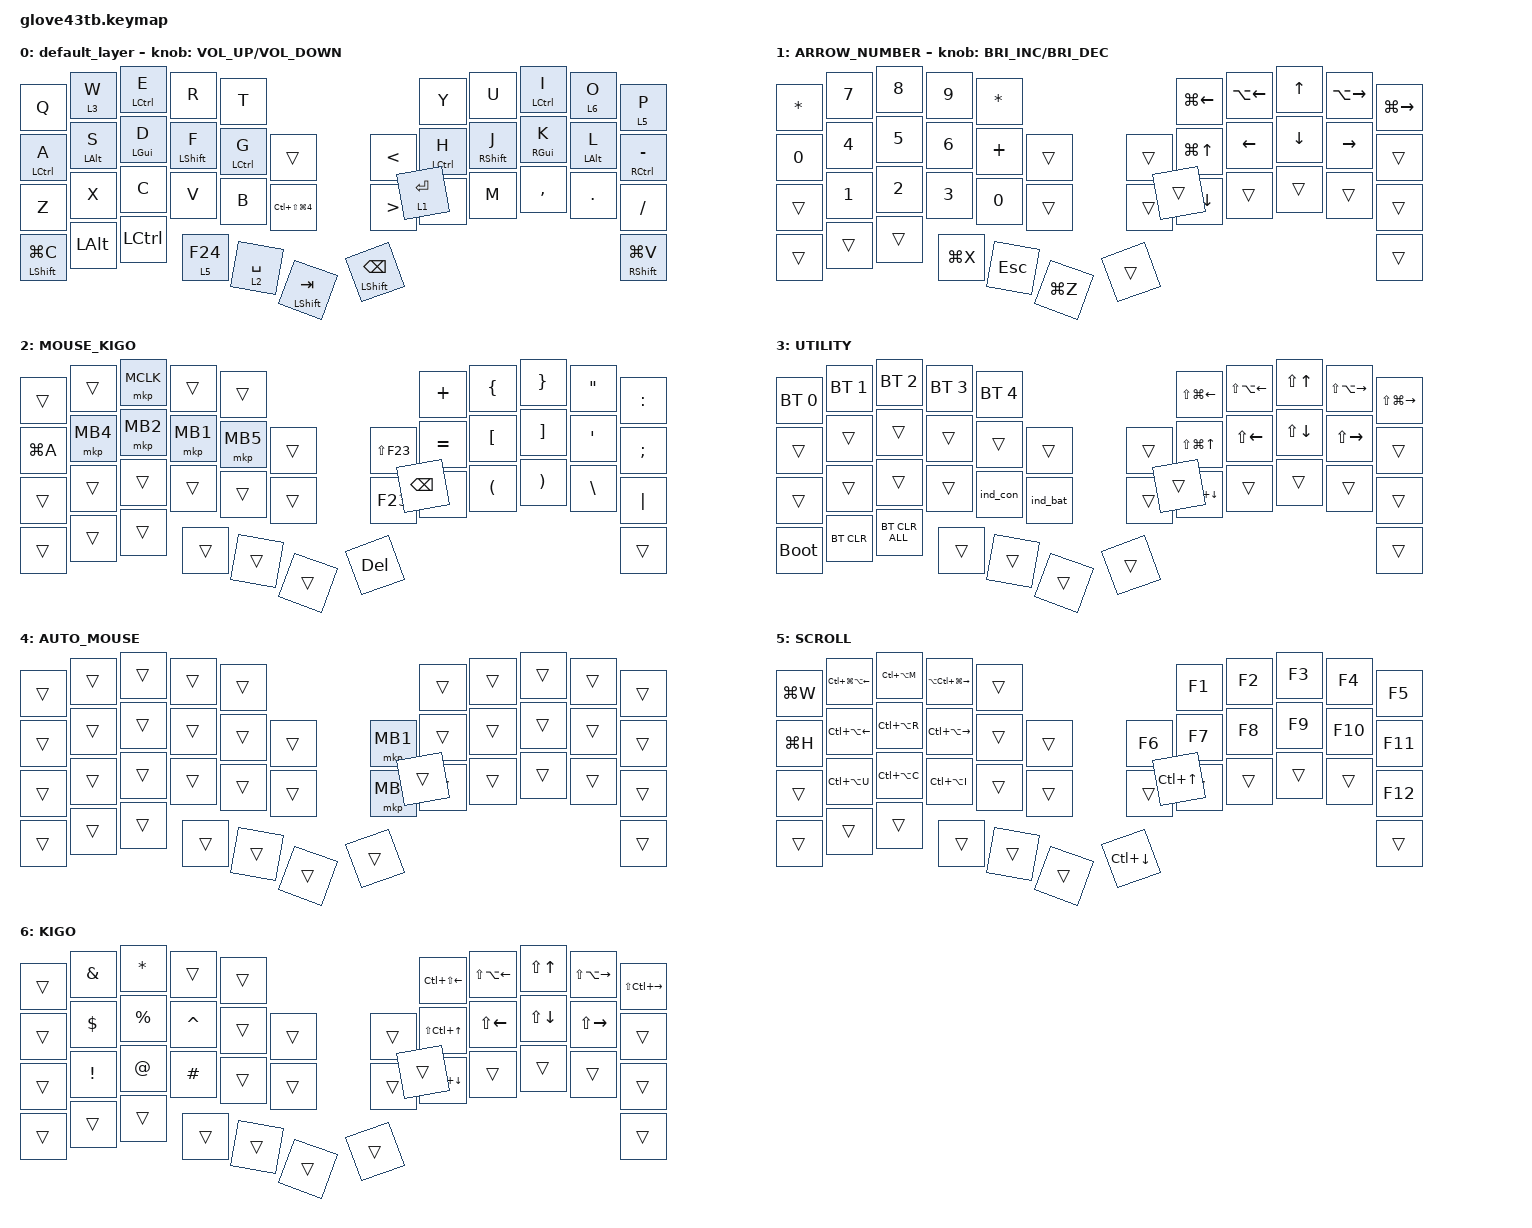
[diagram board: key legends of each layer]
#define ZMK_POINTING_DEFAULT_SCRL_VAL 150

#include <behaviors/rgbled_widget.dtsi>
#include <dt-bindings/zmk/input_transform.h>
#include <input/processors.dtsi>
#include <zephyr/dt-bindings/input/input-event-codes.h>
#include <behaviors.dtsi>
#include <dt-bindings/zmk/bt.h>
#include <dt-bindings/zmk/keys.h>
#include <dt-bindings/zmk/pointing.h>

&mt {
    flavor = "balanced";
    quick-tap-ms = <0>;
};

&mmv {
    delay-ms = <20>;
    trigger-period-ms = <5>;
    time-to-max-speed-ms = <100>;
    acceleration-exponent = <2>;
};

&msc {
    delay-ms = <3>;
    trigger-period-ms = <3>;
    time-to-max-speed-ms = <100>;
    acceleration-exponent = <0>;
};

/ {
    input_processors {
        zip_wheel_scaler: zip_wheel_scaler {
            compatible = "zmk,input-processor-scaler";
            #input-processor-cells = <2>;
            type = <INPUT_EV_REL>;
            codes = <INPUT_REL_WHEEL>;
            track-remainders;
        };
    };
};

/ {
    combos {
        compatible = "zmk,combos";

        alias_macro {
            bindings = <&alias>;
            key-positions = <40 41>;
        };

        voice_input {
            bindings = <&kp LS(LA(LG(J)))>;
            key-positions = <13 12 11>;
        };
    };

    macros {
        to_layer_0: to_layer_0 {
            compatible = "zmk,behavior-macro-one-param";
            #binding-cells = <1>;
            bindings = <&to 0 &macro_param_1to1 &kp MACRO_PLACEHOLDER>;
            label = "TO_LAYER_0";
        };

        alias: alias {
            compatible = "zmk,behavior-macro";
            #binding-cells = <0>;
            bindings = <&kp H &kp O &kp S &kp Y &kp A &kp LS(N) &kp LS(O) &kp N0 &kp N9 &kp N1 &kp N3>;
            label = "ALIAS";
        };
    };

    behaviors {
        lt_to_layer_0: lt_to_layer_0 {
            compatible = "zmk,behavior-hold-tap";
            label = "LAYER_TAP_TO_0";
            bindings = <&mo>, <&to_layer_0>;

            #binding-cells = <2>;
            tapping-term-ms = <200>;
        };

        sensor_rotate_kp: sensor_rotate_kp {
            compatible = "zmk,behavior-sensor-rotate-var";
            #sensor-binding-cells = <2>;
            bindings = <&kp>, <&kp>;
        };

        mouse_wheel_scroll: mouse_wheel_scroll {
            compatible = "zmk,behavior-sensor-rotate-var";
            #sensor-binding-cells = <2>;
            bindings = <&msc>, <&msc>;

            tap-ms = <20>;
        };
    };

    keymap {
        compatible = "zmk,keymap";

        default_layer {
            bindings = <
&kp Q                 &lt 3 W         &mt LEFT_CONTROL E  &kp R             &kp T                                                                       &kp Y               &kp U              &mt LEFT_CONTROL I  &lt 6 O         &lt 5 P
&mt LEFT_CONTROL A    &mt LEFT_ALT S  &mt LEFT_GUI D      &mt LEFT_SHIFT F  &mt LEFT_CONTROL G  &trans                        &kp LESS_THAN             &mt LEFT_CONTROL H  &mt RIGHT_SHIFT J  &mt RIGHT_GUI K     &mt LEFT_ALT L  &mt RIGHT_CONTROL MINUS
&kp Z                 &kp X           &kp C               &kp V             &kp B               &kp LC(LS(LG(NUMBER_4)))      &kp GREATER_THAN          &kp N               &kp M              &kp COMMA           &kp DOT         &kp SLASH
&mt LEFT_SHIFT LG(C)  &kp LEFT_ALT    &kp LEFT_CONTROL    &lt 5 F24         &lt 2 SPACE         &mt LEFT_SHIFT TAB            &mt LEFT_SHIFT BACKSPACE  &lt 1 ENTER                                                                &mt RIGHT_SHIFT LG(V)
            >;

            sensor-bindings = <&sensor_rotate_kp C_VOLUME_UP C_VOLUME_DOWN>;
        };

        ARROW_NUMBER {
            bindings = <
&kp ASTRK  &kp N7        &kp N8  &kp N9     &kp STAR                           &kp LG(LEFT_ARROW)  &kp LA(LEFT_ARROW)  &kp UP_ARROW    &kp LA(RIGHT_ARROW)  &kp LG(RIGHT_ARROW)
&kp N0     &kp N4        &kp N5  &kp N6     &kp PLUS    &trans         &trans  &kp LG(UP_ARROW)    &kp LEFT_ARROW      &kp DOWN_ARROW  &kp RIGHT_ARROW      &trans
&trans     &kp NUMBER_1  &kp N2  &kp N3     &kp N0      &trans         &trans  &kp LG(DOWN_ARROW)  &trans              &trans          &trans               &trans
&trans     &trans        &trans  &kp LG(X)  &kp ESCAPE  &kp LG(Z)      &trans  &trans                                                                       &trans
            >;

            sensor-bindings = <&inc_dec_kp C_BRIGHTNESS_INC C_BRIGHTNESS_DEC>;
        };

        MOUSE_KIGO {
            bindings = <
&trans     &trans    &mkp MCLK  &trans    &trans                             &kp PLUS       &kp LEFT_BRACE        &kp RIGHT_BRACE        &kp DOUBLE_QUOTES  &kp COLON
&kp LG(A)  &mkp MB4  &mkp MB2   &mkp MB1  &mkp MB5  &trans      &kp LS(F23)  &kp EQUAL      &kp LEFT_BRACKET      &kp RIGHT_BRACKET      &kp SQT            &kp SEMICOLON
&trans     &trans    &trans     &trans    &trans    &trans      &kp F23      &kp UNDER      &kp LEFT_PARENTHESIS  &kp RIGHT_PARENTHESIS  &kp BACKSLASH      &kp PIPE
&trans     &trans    &trans     &trans    &trans    &trans      &kp DELETE   &kp BACKSPACE                                                                  &trans
            >;
        };

        UTILITY {
            bindings = <
&bt BT_SEL 0  &bt BT_SEL 1  &bt BT_SEL 2    &bt BT_SEL 3  &bt BT_SEL 4                        &kp LS(LG(LEFT_ARROW))  &kp LS(LA(LEFT_ARROW))  &kp LS(UP_ARROW)    &kp LS(LA(RIGHT_ARROW))  &kp LS(LG(RIGHT_ARROW))
&trans        &trans        &trans          &trans        &trans        &trans        &trans  &kp LS(LG(UP_ARROW))    &kp LS(LEFT_ARROW)      &kp LS(DOWN_ARROW)  &kp LS(RIGHT_ARROW)      &trans
&trans        &trans        &trans          &trans        &ind_con      &ind_bat      &trans  &kp LS(LC(DOWN_ARROW))  &trans                  &trans              &trans                   &trans
&bootloader   &bt BT_CLR    &bt BT_CLR_ALL  &trans        &trans        &trans        &trans  &trans                                                                                       &trans
            >;
        };

        AUTO_MOUSE {
            bindings = <
&trans  &trans  &trans  &trans  &trans                        &trans  &trans  &trans  &trans  &trans
&trans  &trans  &trans  &trans  &trans  &trans      &mkp MB1  &trans  &trans  &trans  &trans  &trans
&trans  &trans  &trans  &trans  &trans  &trans      &mkp MB2  &trans  &trans  &trans  &trans  &trans
&trans  &trans  &trans  &trans  &trans  &trans      &trans    &trans                          &trans
            >;
        };

        SCROLL {
            bindings = <
&kp LG(W)  &kp LC(LG(LA(LEFT_ARROW)))  &kp LC(LA(M))  &kp LA(LC(LG(RIGHT_ARROW)))  &trans                                  &kp F1            &kp F2  &kp F3  &kp F4   &kp F5
&kp LG(H)  &kp LC(LA(LEFT_ARROW))      &kp LC(LA(R))  &kp LC(LA(RIGHT_ARROW))      &trans  &trans      &kp F6              &kp F7            &kp F8  &kp F9  &kp F10  &kp F11
&trans     &kp LC(LA(U))               &kp LC(LA(C))  &kp LC(LA(I))                &trans  &trans      &trans              &trans            &trans  &trans  &trans   &kp F12
&trans     &trans                      &trans         &trans                       &trans  &trans      &kp LC(DOWN_ARROW)  &kp LC(UP_ARROW)                           &trans
            >;
        };

        KIGO {
            bindings = <
&trans  &kp AMPERSAND    &kp ASTERISK  &trans     &trans                      &kp LC(LS(LEFT_ARROW))  &kp LS(LA(LEFT_ARROW))  &kp LS(UP_ARROW)    &kp LS(LA(RIGHT_ARROW))  &kp LS(LC(RIGHT_ARROW))
&trans  &kp DOLLAR       &kp PERCENT   &kp CARET  &trans  &trans      &trans  &kp LS(LC(UP_ARROW))    &kp LS(LEFT_ARROW)      &kp LS(DOWN_ARROW)  &kp LS(RIGHT_ARROW)      &trans
&trans  &kp EXCLAMATION  &kp AT_SIGN   &kp HASH   &trans  &trans      &trans  &kp LS(LC(DOWN_ARROW))  &trans                  &trans              &trans                   &trans
&trans  &trans           &trans        &trans     &trans  &trans      &trans  &trans                                                                                       &trans
            >;
        };
    };
};
